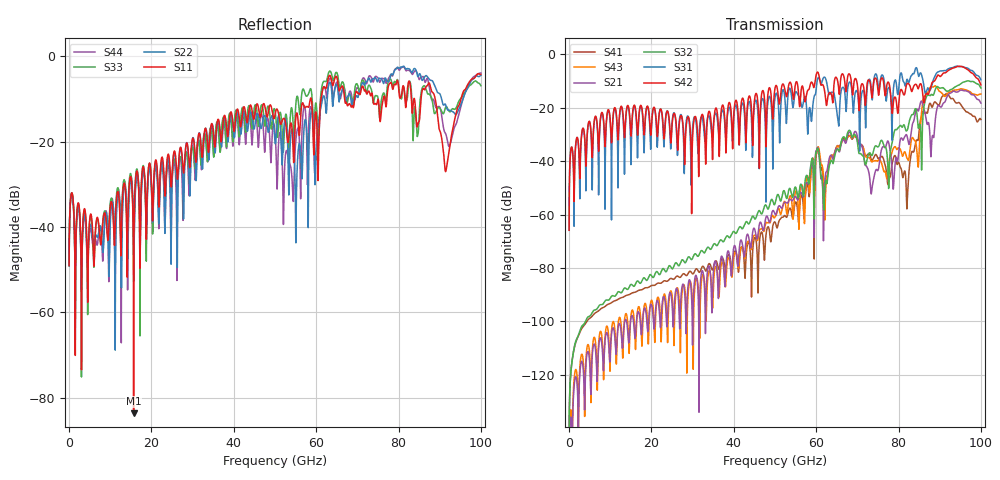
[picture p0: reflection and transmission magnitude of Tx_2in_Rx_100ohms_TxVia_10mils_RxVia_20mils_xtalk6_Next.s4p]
! Info: Touchstone file created by Circ.  Input file=Tx_2in_Rx_100ohms_TxVia_10mils_RxVia_20mils.circ
# Hz S RI R 50
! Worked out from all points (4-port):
!   10000 points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, 10 MHz to 100 GHz, reference 50 ohm
!   strongest paths, dB at 10 MHz, 25.01 GHz, 50.01 GHz, 75.01 GHz, 100 GHz:
!     S42: -65.9, -26.4, -12.7, -13.8, -11.4
!     S31: -65.9, -25.6, -16.2, -11.0, -9.5
!     S32: -144.7, -80.3, -55.9, -34.7, -12.6
!     S21: -160.3, -93.5, -59.8, -43.5, -18.3
!     S43: -146.6, -90.3, -60.9, -39.9, -14.9
!     S41: -144.7, -84.1, -62.8, -39.0, -24.4
!   lowest |S11| = -83.7 dB at 15.67 GHz (marker M1), VSWR 1.00, Z = 50 + j0.00654 ohm
!   |S11| at or under -10 dB: start of sweep to 58.58 GHz; 73.78 GHz to 76.29 GHz (2.51 GHz wide, 3.35 % of centre); 88.91 GHz to 95.17 GHz (6.262 GHz wide, 6.8 % of centre)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
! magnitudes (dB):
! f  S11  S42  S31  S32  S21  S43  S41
! 10 MHz  -49.0  -65.9  -65.9  -144.7  -160.3  -146.6  -144.7
! 15.67 GHz  -83.7  -19.5  -19.7  -86.9  -100.4  -97.4  -89.2
! 44.3 GHz  -12.0  -20.7  -24.6  -61.3  -70.6  -72.8  -90.9
! 67.94 GHz  -11.2  -7.3  -10.7  -28.5  -29.2  -30.7  -30.4
! 82.09 GHz  -8.3  -11.0  -9.3  -28.5  -30.7  -39.0  -56.3
! 91.57 GHz  -26.6  -6.7  -6.0  -13.7  -16.7  -15.3  -14.7
! 100 GHz  -4.2  -11.4  -9.5  -12.6  -18.3  -14.9  -24.4
